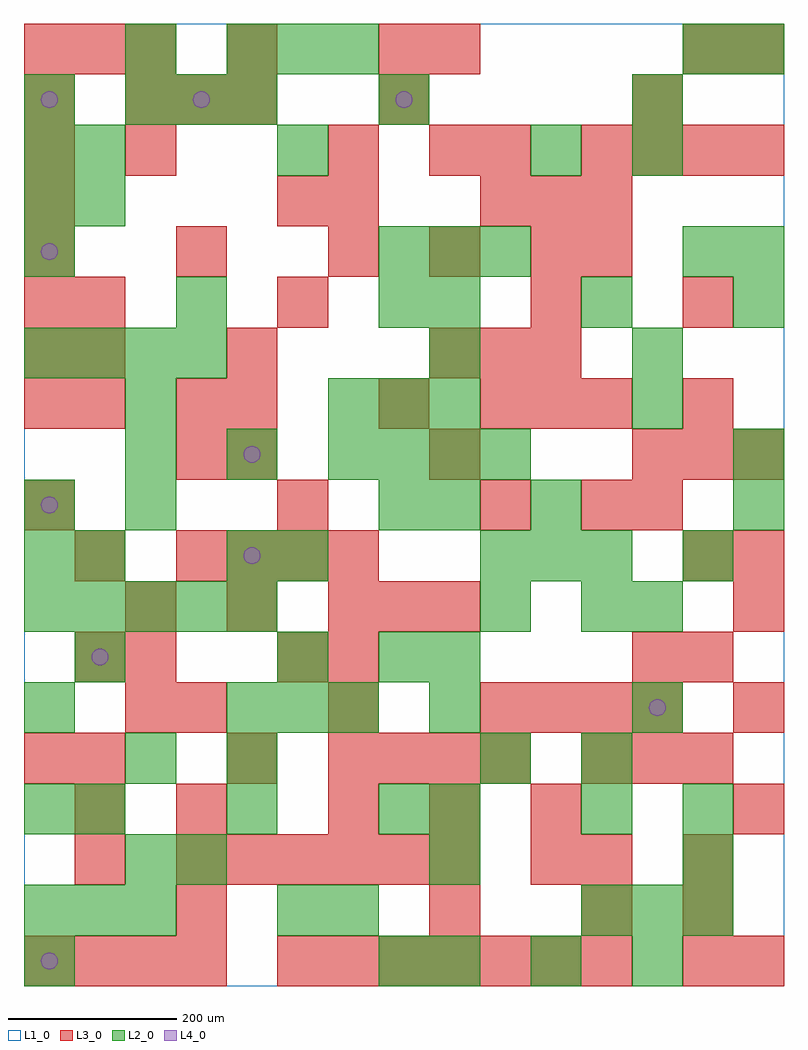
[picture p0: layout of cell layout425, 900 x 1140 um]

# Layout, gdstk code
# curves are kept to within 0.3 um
import gdstk
lib = gdstk.Library(unit=1e-6, precision=1e-09)
def R(c, l, rs):  # rectangles x0, y0, x1, y1
    for r in rs: c.add(gdstk.rectangle(r[:2], r[2:], *l))
def A(c, l, x, y, w, h, nx, ny, dx, dy):  # array of equal rectangles
    R(c, l, [(x+i*dx, y+j*dy, x+i*dx+w, y+j*dy+h) for i in range(nx) for j in range(ny)])
def P(c, l, *ps):  # polygons
    for p in ps: c.add(gdstk.Polygon(p, *l))
L1_0 = (1, 0)
L2_0 = (2, 0)
L3_0 = (3, 0)
L4_0 = (4, 0)

layout425 = lib.new_cell('layout425')
R(layout425, L1_0, [(0,0,900,1140)])
A(layout425, L2_0, 480, 0, 60, 60, 3, 1, 120, 0)
A(layout425, L2_0, 0, 60, 60, 60, 3, 1, 60, 0)
A(layout425, L2_0, 660, 60, 60, 60, 3, 1, 60, 0)
A(layout425, L2_0, 180, 120, 60, 60, 3, 1, 300, 0)
A(layout425, L2_0, 60, 180, 60, 60, 3, 1, 180, 0)
A(layout425, L2_0, 240, 300, 60, 60, 3, 2, 60, 780)
A(layout425, L2_0, 480, 360, 60, 60, 1, 3, 0, 180)
A(layout425, L2_0, 0, 420, 60, 60, 5, 1, 60, 0)
A(layout425, L2_0, 540, 480, 60, 60, 3, 1, 60, 0)
A(layout425, L2_0, 420, 540, 60, 60, 1, 3, 0, 240)
A(layout425, L2_0, 120, 600, 60, 60, 3, 1, 120, 0)
A(layout425, L2_0, 420, 600, 60, 60, 3, 2, 60, 240)
A(layout425, L2_0, 840, 600, 60, 60, 1, 3, 0, 240)
A(layout425, L2_0, 360, 660, 60, 60, 3, 1, 60, 0)
A(layout425, L2_0, 0, 720, 60, 60, 4, 1, 60, 0)
A(layout425, L2_0, 480, 780, 60, 60, 3, 1, 180, 0)
A(layout425, L2_0, 0, 840, 60, 60, 1, 4, 0, 60)
A(layout425, L2_0, 120, 1020, 60, 60, 3, 1, 60, 0)
R(layout425, L2_0, [(0,0,60,60), (420,0,480,60), (300,60,360,120), (360,60,420,120), (120,120,180,180), (0,180,60,240), (480,180,540,240), (660,180,720,240), (780,180,840,240), (120,240,180,300), (240,240,300,300), (540,240,600,300), (660,240,720,300), (0,300,60,360), (480,300,540,360), (720,300,780,360), (60,360,120,420), (300,360,360,420), (420,360,480,420), (540,420,600,480), (660,420,720,480), (720,420,780,480), (0,480,60,540), (60,480,120,540), (240,480,300,540), (300,480,360,540), (780,480,840,540), (0,540,60,600), (120,540,180,600), (600,540,660,600), (840,540,900,600), (120,660,180,720), (720,660,780,720), (720,720,780,780), (180,780,240,840), (780,840,840,900), (60,900,120,960), (60,960,120,1020), (300,960,360,1020), (600,960,660,1020), (720,960,780,1020), (720,1020,780,1080), (120,1080,180,1140), (780,1080,840,1140)])
A(layout425, L3_0, 0, 0, 60, 60, 4, 1, 60, 0)
A(layout425, L3_0, 300, 0, 60, 60, 7, 1, 60, 0)
A(layout425, L3_0, 780, 0, 60, 60, 1, 3, 0, 60)
A(layout425, L3_0, 60, 120, 60, 60, 1, 3, 0, 60)
A(layout425, L3_0, 180, 120, 60, 60, 6, 1, 60, 0)
A(layout425, L3_0, 360, 180, 60, 60, 3, 1, 120, 0)
A(layout425, L3_0, 840, 180, 60, 60, 1, 3, 0, 120)
A(layout425, L3_0, 360, 240, 60, 60, 4, 1, 60, 0)
A(layout425, L3_0, 660, 240, 60, 60, 3, 1, 60, 0)
A(layout425, L3_0, 180, 300, 60, 60, 3, 1, 180, 0)
A(layout425, L3_0, 600, 300, 60, 60, 3, 1, 60, 0)
A(layout425, L3_0, 780, 360, 60, 60, 1, 3, 0, 120)
A(layout425, L3_0, 120, 420, 60, 60, 3, 1, 120, 0)
A(layout425, L3_0, 180, 480, 60, 60, 4, 1, 60, 0)
A(layout425, L3_0, 240, 600, 60, 60, 3, 1, 240, 0)
A(layout425, L3_0, 0, 660, 60, 60, 1, 3, 0, 60)
A(layout425, L3_0, 60, 660, 60, 60, 1, 3, 0, 60)
A(layout425, L3_0, 540, 660, 60, 60, 3, 2, 60, 240)
A(layout425, L3_0, 480, 720, 60, 60, 3, 1, 60, 0)
A(layout425, L3_0, 0, 840, 60, 60, 3, 1, 180, 0)
A(layout425, L3_0, 480, 840, 60, 60, 1, 3, 0, 120)
A(layout425, L3_0, 0, 900, 60, 60, 1, 3, 0, 60)
A(layout425, L3_0, 660, 960, 60, 60, 4, 1, 60, 0)
A(layout425, L3_0, 120, 1020, 60, 60, 3, 1, 60, 0)
A(layout425, L3_0, 0, 1080, 60, 60, 3, 1, 60, 0)
R(layout425, L3_0, [(840,0,900,60), (180,60,240,120), (480,60,540,120), (660,60,720,120), (600,120,660,180), (660,120,720,180), (180,180,240,240), (0,240,60,300), (240,240,300,300), (120,300,180,360), (60,360,120,420), (120,360,180,420), (300,360,360,420), (360,360,420,420), (720,360,780,420), (420,420,480,480), (480,420,540,480), (60,480,120,540), (840,480,900,540), (0,540,60,600), (300,540,360,600), (540,540,600,600), (660,540,720,600), (720,540,780,600), (180,600,240,660), (840,600,900,660), (180,660,240,720), (240,660,300,720), (420,660,480,720), (780,660,840,720), (240,720,300,780), (300,780,360,840), (600,780,660,840), (780,780,840,840), (600,840,660,900), (660,840,720,900), (300,900,360,960), (360,900,420,960), (120,960,180,1020), (360,960,420,1020), (540,960,600,1020), (420,1020,480,1080), (720,1020,780,1080), (240,1080,300,1140), (420,1080,480,1140), (780,1080,840,1140), (840,1080,900,1140)])
P(layout425, L4_0, [(40,30),(39.239,33.827),(37.071,37.071),(33.827,39.239),(30,40),(26.173,39.239),(22.929,37.071),(20.761,33.827),(20,30),(20.761,26.173),(22.929,22.929),(26.173,20.761),(30,20),(33.827,20.761),(37.071,22.929),(39.239,26.173)],
  [(40,570),(39.239,573.827),(37.071,577.071),(33.827,579.239),(30,580),(26.173,579.239),(22.929,577.071),(20.761,573.827),(20,570),(20.761,566.173),(22.929,562.929),(26.173,560.761),(30,560),(33.827,560.761),(37.071,562.929),(39.239,566.173)],
  [(40,870),(39.239,873.827),(37.071,877.071),(33.827,879.239),(30,880),(26.173,879.239),(22.929,877.071),(20.761,873.827),(20,870),(20.761,866.173),(22.929,862.929),(26.173,860.761),(30,860),(33.827,860.761),(37.071,862.929),(39.239,866.173)],
  [(40,1050),(39.239,1053.827),(37.071,1057.071),(33.827,1059.239),(30,1060),(26.173,1059.239),(22.929,1057.071),(20.761,1053.827),(20,1050),(20.761,1046.173),(22.929,1042.929),(26.173,1040.761),(30,1040),(33.827,1040.761),(37.071,1042.929),(39.239,1046.173)],
  [(100,390),(99.239,393.827),(97.071,397.071),(93.827,399.239),(90,400),(86.173,399.239),(82.929,397.071),(80.761,393.827),(80,390),(80.761,386.173),(82.929,382.929),(86.173,380.761),(90,380),(93.827,380.761),(97.071,382.929),(99.239,386.173)],
  [(220,1050),(219.239,1053.827),(217.071,1057.071),(213.827,1059.239),(210,1060),(206.173,1059.239),(202.929,1057.071),(200.761,1053.827),(200,1050),(200.761,1046.173),(202.929,1042.929),(206.173,1040.761),(210,1040),(213.827,1040.761),(217.071,1042.929),(219.239,1046.173)],
  [(280,510),(279.239,513.827),(277.071,517.071),(273.827,519.239),(270,520),(266.173,519.239),(262.929,517.071),(260.761,513.827),(260,510),(260.761,506.173),(262.929,502.929),(266.173,500.761),(270,500),(273.827,500.761),(277.071,502.929),(279.239,506.173)],
  [(280,630),(279.239,633.827),(277.071,637.071),(273.827,639.239),(270,640),(266.173,639.239),(262.929,637.071),(260.761,633.827),(260,630),(260.761,626.173),(262.929,622.929),(266.173,620.761),(270,620),(273.827,620.761),(277.071,622.929),(279.239,626.173)],
  [(460,1050),(459.239,1053.827),(457.071,1057.071),(453.827,1059.239),(450,1060),(446.173,1059.239),(442.929,1057.071),(440.761,1053.827),(440,1050),(440.761,1046.173),(442.929,1042.929),(446.173,1040.761),(450,1040),(453.827,1040.761),(457.071,1042.929),(459.239,1046.173)],
  [(760,330),(759.239,333.827),(757.071,337.071),(753.827,339.239),(750,340),(746.173,339.239),(742.929,337.071),(740.761,333.827),(740,330),(740.761,326.173),(742.929,322.929),(746.173,320.761),(750,320),(753.827,320.761),(757.071,322.929),(759.239,326.173)])

lib.write_gds('layout425.gds')
